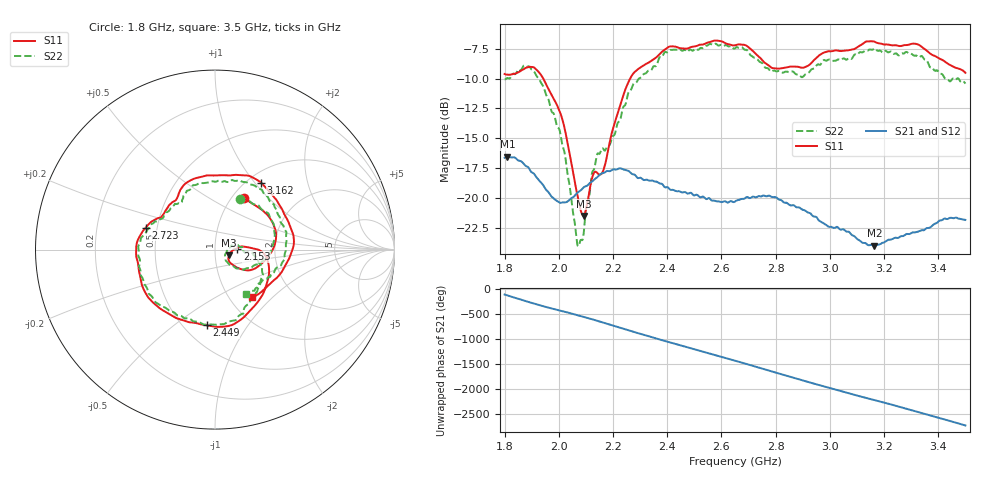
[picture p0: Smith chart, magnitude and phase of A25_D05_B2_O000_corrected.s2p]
! Created with skrf 1.9.0 (http://scikit-rf.org).
# Hz S RI R 50.0
!freq ReS11 ImS11 ReS21 ImS21 ReS12 ImS12 ReS22 ImS22
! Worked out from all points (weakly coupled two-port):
!   1601 points, 1.8 GHz to 3.5 GHz, reference 50 ohm
!   highest |S21| = -16.56 dB at 1.811 GHz (marker M1); lowest = -24.0 dB at 3.164 GHz (marker M2)
!   lowest |S11| = -21.5 dB at 2.091 GHz (marker M3), VSWR 1.18, Z = 58.3 - j3.66 ohm
!   |S11| at or under -10 dB: 1.943 GHz to 2.263 GHz (320.2 MHz wide, 15.2 % of centre)
!   |S22| runs from -24.1 to -7.1 dB; largest |S21 - S12| = 0.0027
!   S11 on the Smith chart (normalised r, x): 1.8 GHz: 1.13, +0.73; 2.153 GHz: 1.29, +0.01; 2.449 GHz: 0.65, -0.66; 2.723 GHz: 0.43, +0.13; 3.162 GHz: 1.15, +1.08; 3.5 GHz: 1.28, -0.75
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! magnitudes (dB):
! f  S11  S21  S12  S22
! 1.8 GHz  -9.6  -16.6  -16.7  -10.1
! 1.811 GHz  -9.7  -16.6  -16.6  -9.9
! 1.882 GHz  -9.1  -17.4  -17.4  -9.0
! 1.941 GHz  -9.9  -18.9  -18.9  -10.6
! 2.013 GHz  -13.4  -20.4  -20.4  -15.5
! 2.066 GHz  -19.5  -19.6  -19.6  -23.5
! 2.084 GHz  -21.3  -19.3  -19.3  -23.5
! 2.091 GHz  -21.5  -19.1  -19.2  -23.1
! 2.127 GHz  -18.0  -18.5  -18.5  -17.7
! 2.153 GHz  -18.0  -18.0  -18.1  -16.2
! 2.192 GHz  -14.9  -17.7  -17.7  -15.3
! 2.26 GHz  -10.1  -17.8  -17.8  -11.0
! 2.367 GHz  -8.0  -18.7  -18.7  -8.4
! 2.449 GHz  -7.5  -19.5  -19.5  -7.6
! 2.65 GHz  -7.2  -20.3  -20.3  -7.5
! 2.723 GHz  -7.8  -19.9  -19.9  -8.3
! 2.795 GHz  -9.1  -20.0  -19.9  -9.3
! 2.934 GHz  -8.6  -21.4  -21.4  -9.2
! 3.162 GHz  -6.9  -24.0  -24.0  -7.5
! 3.164 GHz  -6.9  -24.0  -24.0  -7.5
! 3.217 GHz  -7.1  -23.5  -23.5  -7.8
! 3.5 GHz  -9.5  -21.9  -21.8  -10.4
